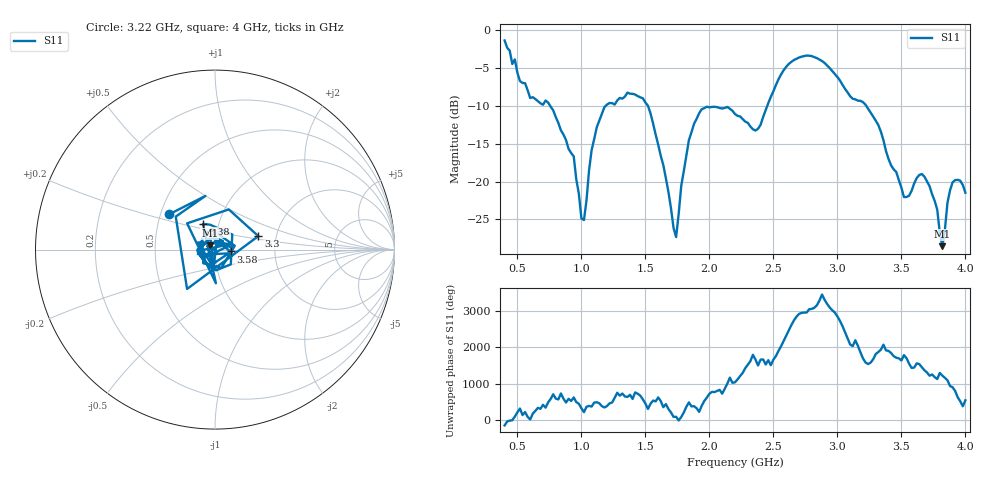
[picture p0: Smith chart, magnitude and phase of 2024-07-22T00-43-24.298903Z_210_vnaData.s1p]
!Created with skrf (http://scikit-rf.org).
# Hz S RI R 50.0
!freq ReS11 ImS11
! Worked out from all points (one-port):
!   181 points, 400 MHz to 4 GHz, reference 50 ohm
!   lowest |S11| = -28.5 dB at 3.82 GHz (marker M1), VSWR 1.08, Z = 47.1 + j2.21 ohm
!   |S11| at or under -10 dB: 756.7 MHz to 1.188 GHz (431.8 MHz wide, 44.4 % of centre); 1.521 GHz to 2.452 GHz (930.9 MHz wide, 46.9 % of centre); 3.226 GHz to end of sweep
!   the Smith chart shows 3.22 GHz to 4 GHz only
!   S11 on the Smith chart (normalised r, x): 3.22 GHz: 0.56, +0.24; 3.3 GHz: 1.61, +0.26; 3.38 GHz: 0.84, +0.25; 3.58 GHz: 1.19, -0.03; 4 GHz: 0.84, -0.01
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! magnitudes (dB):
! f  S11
! 400 MHz  -1.3
! 600 MHz  -8.9
! 860 MHz  -13.8
! 940 MHz  -16.7
! 1.02 GHz  -25.1
! 1.12 GHz  -12.8
! 1.3 GHz  -8.9
! 1.52 GHz  -10.0
! 1.72 GHz  -26.1
! 1.74 GHz  -27.3
! 1.76 GHz  -24.3
! 1.84 GHz  -14.5
! 1.92 GHz  -11.0
! 2.2 GHz  -11.1
! 2.38 GHz  -13.0
! 2.66 GHz  -3.9
! 2.88 GHz  -4.1
! 3.1 GHz  -8.7
! 3.22 GHz  -9.8
! 3.3 GHz  -11.9
! 3.38 GHz  -16.0
! 3.56 GHz  -21.9
! 3.58 GHz  -21.2
! 3.68 GHz  -19.3
! 3.78 GHz  -23.7
! 3.82 GHz  -28.5
! 3.9 GHz  -20.1
! 4 GHz  -21.5
